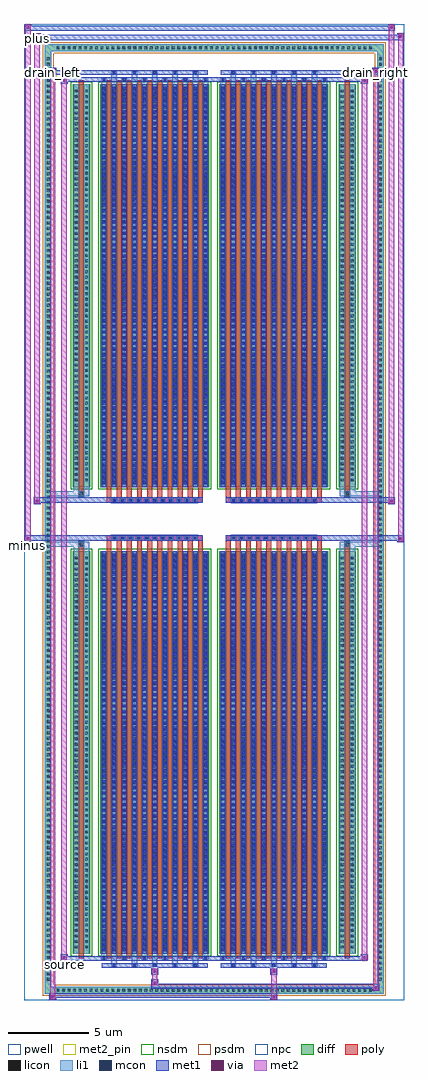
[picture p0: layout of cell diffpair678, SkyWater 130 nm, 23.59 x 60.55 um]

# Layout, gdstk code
import gdstk
lib = gdstk.Library(unit=1e-6, precision=5e-09)
def R(c, l, rs):  # rectangles x0, y0, x1, y1
    for r in rs: c.add(gdstk.rectangle(r[:2], r[2:], *l))
def A(c, l, x, y, w, h, nx, ny, dx, dy):  # array of equal rectangles
    R(c, l, [(x+i*dx, y+j*dy, x+i*dx+w, y+j*dy+h) for i in range(nx) for j in range(ny)])
def P(c, l, *ps):  # polygons
    for p in ps: c.add(gdstk.Polygon(p, *l))
pwell = (64, 44)
diff = (65, 20)
poly = (66, 20)
licon = (66, 44)
li1 = (67, 20)
mcon = (67, 44)
met1 = (68, 20)
via = (68, 44)
met2_pin = (69, 16)
met2 = (69, 20)
nsdm = (93, 44)
psdm = (94, 20)
npc = (95, 20)

diffpair678 = lib.new_cell('diffpair678')
R(diffpair678, pwell, [(-11.78,-29.84,11.78,30.71), (-9.1,-28.03,-0.01,-0.805), (0.01,-28.03,9.1,-0.805), (-9.1,0.805,-0.01,28.03), (0.01,0.805,9.1,28.03)])
A(diffpair678, diff, -9.895, -29.44, 0.41, 0.41, 58, 2, 0.34, 58.47)
A(diffpair678, diff, -10.51, -28.765, 0.41, 0.41, 1, 169, 0, 0.34)
A(diffpair678, diff, 10.1, -28.765, 0.41, 0.41, 1, 169, 0, 0.34)
R(diffpair678, diff, [(-9.895,-29.44,9.895,-29.03), (-10.51,-28.765,-10.1,28.765), (10.1,-28.765,10.51,28.765), (-8.79,-26.985,-7.71,-1.985), (-7.07,-26.985,-0.32,-1.985), (0.32,-26.985,7.07,-1.985), (7.71,-26.985,8.79,-1.985), (-8.79,1.985,-7.71,26.985), (-7.07,1.985,-0.32,26.985), (0.32,1.985,7.07,26.985), (7.71,1.985,8.79,26.985), (-9.895,29.03,9.895,29.44)])
P(diffpair678, diff, [(10.51,29.44),(-10.51,29.44),(-10.51,-29.03),(-10.1,-29.03),(-10.1,29.03),(10.1,29.03),(10.1,-29.03),(-10.1,-29.03),(-10.51,-29.03),(-10.51,-29.44),(10.51,-29.44)])
A(diffpair678, poly, -6.68, -27.235, 0.3, 25.5, 10, 2, 0.63, 28.97)
A(diffpair678, poly, 0.71, -27.235, 0.3, 25.5, 10, 2, 0.63, 28.97)
A(diffpair678, poly, -6.68, -1.735, 0.3, 0.4, 10, 2, 0.63, 3.07)
A(diffpair678, poly, 0.71, -1.735, 0.3, 0.4, 10, 2, 0.63, 3.07)
A(diffpair678, poly, -6.36, -1.335, 0.33, 0.33, 11, 2, 0.5, 2.34)
A(diffpair678, poly, 1.03, -1.335, 0.33, 0.33, 11, 2, 0.5, 2.34)
R(diffpair678, poly, [(-8.4,-27.235,-8.1,-1.735), (8.1,-27.235,8.4,-1.735), (-8.415,-1.735,-8.085,-1.405), (-8.415,-1.735,-8.085,-1.405), (8.085,-1.735,8.415,-1.405), (8.085,-1.735,8.415,-1.405), (-6.68,-1.335,-0.71,-1.005), (0.71,-1.335,6.68,-1.005), (-6.68,1.005,-0.71,1.335), (0.71,1.005,6.68,1.335), (-8.415,1.405,-8.085,1.735), (-8.415,1.405,-8.085,1.735), (8.085,1.405,8.415,1.735), (8.085,1.405,8.415,1.735), (-8.4,1.735,-8.1,27.235), (8.1,1.735,8.4,27.235)])
A(diffpair678, licon, -9.775, -29.32, 0.17, 0.17, 58, 2, 0.34, 58.47)
A(diffpair678, licon, -10.39, -28.645, 0.17, 0.17, 1, 169, 0, 0.34)
A(diffpair678, licon, 10.22, -28.645, 0.17, 0.17, 1, 169, 0, 0.34)
A(diffpair678, licon, -8.65, -26.64, 0.17, 0.17, 1, 72, 0, 0.34)
A(diffpair678, licon, -8.02, -26.64, 0.17, 0.17, 1, 72, 0, 0.34)
A(diffpair678, licon, -6.93, -26.64, 0.17, 0.17, 11, 72, 0.63, 0.34)
A(diffpair678, licon, 0.46, -26.64, 0.17, 0.17, 11, 72, 0.63, 0.34)
A(diffpair678, licon, 7.85, -26.64, 0.17, 0.17, 1, 72, 0, 0.34)
A(diffpair678, licon, 8.48, -26.64, 0.17, 0.17, 1, 72, 0, 0.34)
A(diffpair678, licon, -6.28, -1.255, 0.17, 0.17, 11, 2, 0.5, 2.34)
A(diffpair678, licon, 1.11, -1.255, 0.17, 0.17, 11, 2, 0.5, 2.34)
A(diffpair678, licon, -8.65, 2.33, 0.17, 0.17, 1, 72, 0, 0.34)
A(diffpair678, licon, -8.02, 2.33, 0.17, 0.17, 1, 72, 0, 0.34)
A(diffpair678, licon, -6.93, 2.33, 0.17, 0.17, 11, 72, 0.63, 0.34)
A(diffpair678, licon, 0.46, 2.33, 0.17, 0.17, 11, 72, 0.63, 0.34)
A(diffpair678, licon, 7.85, 2.33, 0.17, 0.17, 1, 72, 0, 0.34)
A(diffpair678, licon, 8.48, 2.33, 0.17, 0.17, 1, 72, 0, 0.34)
R(diffpair678, licon, [(-8.335,-1.655,-8.165,-1.485), (8.165,-1.655,8.335,-1.485), (-8.335,1.485,-8.165,1.655), (8.165,1.485,8.335,1.655)])
A(diffpair678, li1, -9.855, -29.4, 0.33, 0.33, 58, 2, 0.34, 58.47)
A(diffpair678, li1, -10.47, -28.725, 0.33, 0.33, 1, 169, 0, 0.34)
A(diffpair678, li1, 10.14, -28.725, 0.33, 0.33, 1, 169, 0, 0.34)
A(diffpair678, li1, -6.38, -27.79, 0.33, 0.805, 5, 2, 1.26, 54.775)
A(diffpair678, li1, -6.3, -27.79, 0.17, 0.17, 5, 2, 1.26, 55.41)
A(diffpair678, li1, 1.01, -27.79, 0.33, 0.805, 5, 2, 1.26, 54.775)
A(diffpair678, li1, 1.09, -27.79, 0.17, 0.17, 5, 2, 1.26, 55.41)
A(diffpair678, li1, -7.01, -27.36, 0.33, 0.375, 6, 2, 1.26, 54.345)
A(diffpair678, li1, -6.93, -27.36, 0.17, 0.17, 6, 2, 1.26, 54.55)
A(diffpair678, li1, 0.38, -27.36, 0.33, 0.375, 6, 2, 1.26, 54.345)
A(diffpair678, li1, 0.46, -27.36, 0.17, 0.17, 6, 2, 1.26, 54.55)
A(diffpair678, li1, -7.01, -26.985, 0.33, 25, 11, 2, 0.63, 28.97)
A(diffpair678, li1, 0.38, -26.985, 0.33, 25, 11, 2, 0.63, 28.97)
A(diffpair678, li1, -6.93, -26.81, 0.17, 0.17, 11, 69, 0.63, 0.36)
A(diffpair678, li1, -6.93, -26.81, 0.17, 24.65, 11, 2, 0.63, 28.97)
A(diffpair678, li1, 0.46, -26.81, 0.17, 0.17, 11, 69, 0.63, 0.36)
A(diffpair678, li1, 0.46, -26.81, 0.17, 24.65, 11, 2, 0.63, 28.97)
A(diffpair678, li1, -8.73, -26.72, 0.33, 0.33, 1, 72, 0, 0.34)
A(diffpair678, li1, -8.1, -26.72, 0.33, 0.33, 1, 72, 0, 0.34)
A(diffpair678, li1, -7.01, -26.72, 0.33, 0.33, 11, 72, 0.63, 0.34)
A(diffpair678, li1, 0.38, -26.72, 0.33, 0.33, 11, 72, 0.63, 0.34)
A(diffpair678, li1, 7.77, -26.72, 0.33, 0.33, 1, 72, 0, 0.34)
A(diffpair678, li1, 8.4, -26.72, 0.33, 0.33, 1, 72, 0, 0.34)
A(diffpair678, li1, -6.36, -1.335, 0.33, 0.33, 11, 2, 0.5, 2.34)
A(diffpair678, li1, 1.03, -1.335, 0.33, 0.33, 11, 2, 0.5, 2.34)
A(diffpair678, li1, -6.93, 2.16, 0.17, 0.17, 11, 69, 0.63, 0.36)
A(diffpair678, li1, 0.46, 2.16, 0.17, 0.17, 11, 69, 0.63, 0.36)
A(diffpair678, li1, -8.73, 2.25, 0.33, 0.33, 1, 72, 0, 0.34)
A(diffpair678, li1, -8.1, 2.25, 0.33, 0.33, 1, 72, 0, 0.34)
A(diffpair678, li1, -7.01, 2.25, 0.33, 0.33, 11, 72, 0.63, 0.34)
A(diffpair678, li1, 0.38, 2.25, 0.33, 0.33, 11, 72, 0.63, 0.34)
A(diffpair678, li1, 7.77, 2.25, 0.33, 0.33, 1, 72, 0, 0.34)
A(diffpair678, li1, 8.4, 2.25, 0.33, 0.33, 1, 72, 0, 0.34)
R(diffpair678, li1, [(-10.51,-29.44,-10.1,-29.03), (-10.51,-29.44,-10.1,-29.03), (-10.1,-29.44,10.1,-29.03), (10.1,-29.44,10.51,-29.03), (10.1,-29.44,10.51,-29.03), (-10.51,-29.03,-10.1,29.03), (10.1,-29.03,10.51,29.03), (-8.73,-26.985,-8.4,-1.985), (-8.1,-26.985,-7.77,-1.985), (7.77,-26.985,8.1,-1.985), (8.4,-26.985,8.73,-1.985), (-8.73,-1.985,-8.4,-1.405), (-8.1,-1.985,-7.77,-1.405), (7.77,-1.985,8.1,-1.405), (8.4,-1.985,8.73,-1.405), (-10.51,-1.735,-8.415,-1.405), (-8.73,-1.735,-8.415,-1.405), (-8.415,-1.735,-8.085,-1.405), (-8.085,-1.735,-7.77,-1.405), (7.77,-1.735,8.085,-1.405), (8.085,-1.735,8.415,-1.405), (8.085,-1.735,10.51,-1.405), (8.415,-1.735,8.73,-1.405), (-10.51,1.405,-8.415,1.735), (-8.73,1.405,-8.415,1.735), (-8.73,1.405,-8.4,1.985), (-8.415,1.405,-8.085,1.735), (-8.1,1.405,-7.77,1.985), (-8.085,1.405,-7.77,1.735), (7.77,1.405,8.085,1.735), (7.77,1.405,8.1,1.985), (8.085,1.405,8.415,1.735), (8.085,1.405,10.51,1.735), (8.4,1.405,8.73,1.985), (8.415,1.405,8.73,1.735), (-8.73,1.985,-8.4,26.985), (-8.1,1.985,-7.77,26.985), (7.77,1.985,8.1,26.985), (8.4,1.985,8.73,26.985), (-10.51,29.03,-10.1,29.44), (-10.51,29.03,-10.1,29.44), (-10.1,29.03,10.1,29.44), (10.1,29.03,10.51,29.44), (10.1,29.03,10.51,29.44)])
A(diffpair678, mcon, -6.3, -27.79, 0.17, 0.17, 5, 2, 1.26, 55.41)
A(diffpair678, mcon, 1.09, -27.79, 0.17, 0.17, 5, 2, 1.26, 55.41)
A(diffpair678, mcon, -6.93, -27.36, 0.17, 0.17, 6, 2, 1.26, 54.55)
A(diffpair678, mcon, 0.46, -27.36, 0.17, 0.17, 6, 2, 1.26, 54.55)
A(diffpair678, mcon, -6.93, -26.81, 0.17, 0.17, 11, 69, 0.63, 0.36)
A(diffpair678, mcon, 0.46, -26.81, 0.17, 0.17, 11, 69, 0.63, 0.36)
A(diffpair678, mcon, -6.28, -1.255, 0.17, 0.17, 11, 2, 0.5, 2.34)
A(diffpair678, mcon, 1.11, -1.255, 0.17, 0.17, 11, 2, 0.5, 2.34)
A(diffpair678, mcon, -6.93, 2.16, 0.17, 0.17, 11, 69, 0.63, 0.36)
A(diffpair678, mcon, 0.46, 2.16, 0.17, 0.17, 11, 69, 0.63, 0.36)
A(diffpair678, met1, -6.36, -27.85, 0.29, 0.29, 5, 2, 1.26, 55.41)
A(diffpair678, met1, 1.03, -27.85, 0.29, 0.29, 5, 2, 1.26, 55.41)
A(diffpair678, met1, -6.99, -27.42, 0.29, 0.29, 6, 2, 1.26, 54.55)
A(diffpair678, met1, 0.4, -27.42, 0.29, 0.29, 6, 2, 1.26, 54.55)
A(diffpair678, met1, -6.99, -26.985, 0.29, 25, 11, 2, 0.63, 28.97)
A(diffpair678, met1, 0.4, -26.985, 0.29, 25, 11, 2, 0.63, 28.97)
A(diffpair678, met1, -6.99, -26.87, 0.29, 0.29, 11, 69, 0.63, 0.36)
A(diffpair678, met1, 0.4, -26.87, 0.29, 0.29, 11, 69, 0.63, 0.36)
A(diffpair678, met1, -6.34, -1.315, 0.29, 0.29, 11, 2, 0.5, 2.34)
A(diffpair678, met1, 1.05, -1.315, 0.29, 0.29, 11, 2, 0.5, 2.34)
A(diffpair678, met1, -6.99, 2.1, 0.29, 0.29, 11, 69, 0.63, 0.36)
A(diffpair678, met1, 0.4, 2.1, 0.29, 0.29, 11, 69, 0.63, 0.36)
R(diffpair678, met1, [(-10.24,-29.84,-9.81,-29.41), (3.48,-29.84,3.91,-29.41), (-10.24,-29.7,3.91,-29.41), (9.81,-29.27,10.24,-28.84), (-3.91,-29.13,10.24,-28.84), (-3.91,-28.99,-3.48,-28.56), (-3.91,-28.28,-3.48,-27.85), (3.48,-28.28,3.91,-27.85), (-6.99,-27.85,-0.4,-27.56), (0.4,-27.85,6.99,-27.56), (-9.53,-27.42,-9.1,-26.99), (-9.53,-27.42,-6.99,-27.13), (-6.99,-27.42,-0.4,-27.13), (-0.4,-27.42,0.4,-27.13), (0.4,-27.42,6.99,-27.13), (6.99,-27.42,9.53,-27.13), (9.1,-27.42,9.53,-26.99), (-11.78,-1.435,-11.35,-1.005), (11.35,-1.435,11.78,-1.005), (-11.78,-1.335,-0.71,-1.005), (-6.68,-1.335,-0.71,-1.005), (0.71,-1.335,6.68,-1.005), (0.71,-1.335,11.78,-1.005), (-11.21,0.905,-10.78,1.335), (10.78,0.905,11.21,1.335), (-11.21,1.005,-6.68,1.335), (-6.68,1.005,-0.71,1.335), (0.71,1.005,6.68,1.335), (6.68,1.005,11.21,1.335), (-9.53,26.99,-9.1,27.42), (9.1,26.99,9.53,27.42), (-9.53,27.13,-6.99,27.42), (-6.99,27.13,-0.4,27.42), (-0.4,27.13,0.4,27.42), (0.4,27.13,6.99,27.42), (6.99,27.13,9.53,27.42), (-10.24,27.56,-9.81,27.99), (-10.24,27.56,-6.99,27.85), (-6.99,27.56,-0.4,27.85), (0.4,27.56,6.99,27.85), (6.99,27.56,10.24,27.85), (9.81,27.56,10.24,27.99), (-11.21,29.71,-10.78,30.14), (-11.21,29.71,-9.1,30.04), (-9.1,29.71,9.1,30.04), (9.1,29.71,11.78,30.04), (11.35,29.71,11.78,30.14), (-11.78,30.28,-11.35,30.71), (-11.78,30.28,-9.1,30.61), (-9.1,30.28,9.1,30.61), (9.1,30.28,11.21,30.61), (10.78,30.28,11.21,30.71)])
R(diffpair678, via, [(-10.1,-29.7,-9.95,-29.55), (3.62,-29.7,3.77,-29.55), (9.95,-29.13,10.1,-28.98), (-3.77,-28.85,-3.62,-28.7), (-3.77,-28.14,-3.62,-27.99), (3.62,-28.14,3.77,-27.99), (-9.39,-27.28,-9.24,-27.13), (9.24,-27.28,9.39,-27.13), (-11.64,-1.295,-11.49,-1.145), (11.49,-1.295,11.64,-1.145), (-11.07,1.045,-10.92,1.195), (10.92,1.045,11.07,1.195), (-9.39,27.13,-9.24,27.28), (9.24,27.13,9.39,27.28), (-10.1,27.7,-9.95,27.85), (9.95,27.7,10.1,27.85), (-11.07,29.85,-10.92,30), (11.49,29.85,11.64,30), (-11.64,30.42,-11.49,30.57), (10.92,30.42,11.07,30.57)])
R(diffpair678, met2_pin, [(-9.565,-27.87,-9.065,-27.37), (-11.815,-1.885,-11.315,-1.385), (-10.275,27.44,-9.775,27.94), (9.775,27.44,10.275,27.94), (-11.245,29.59,-10.745,30.09)])
R(diffpair678, met2, [(-10.19,-29.79,-9.86,-29.46), (-10.19,-29.79,-9.86,27.94), (3.53,-29.79,3.86,-29.46), (3.53,-29.46,3.86,-28.23), (9.86,-29.22,10.19,-28.89), (9.86,-29.22,10.19,27.94), (-3.86,-28.94,-3.53,-28.61), (-3.86,-28.61,-3.53,-28.23), (-3.86,-28.23,-3.53,-27.9), (3.53,-28.23,3.86,-27.9), (-9.48,-27.37,-9.15,-27.04), (-9.48,-27.37,-9.15,27.37), (9.15,-27.37,9.48,-27.04), (9.15,-27.37,9.48,27.37), (-11.73,-1.385,-11.4,-1.055), (-11.73,-1.385,-11.4,30.66), (11.4,-1.385,11.73,-1.055), (11.4,-1.385,11.73,30.09), (-11.16,0.955,-10.83,1.285), (-11.16,0.955,-10.83,30.09), (10.83,0.955,11.16,1.285), (10.83,0.955,11.16,30.66), (-9.48,27.04,-9.15,27.37), (9.15,27.04,9.48,27.37), (-10.19,27.61,-9.86,27.94), (9.86,27.61,10.19,27.94), (-11.16,29.76,-10.83,30.09), (11.4,29.76,11.73,30.09), (-11.73,30.33,-11.4,30.66), (10.83,30.33,11.16,30.66)])
P(diffpair678, met2, [(11.73,-1.385),(11.73,-1.385),(11.73,-1.055),(11.73,-1.055)],
  [(11.73,29.76),(11.73,29.76),(11.73,30.09),(11.73,30.09)],
  [(-11.4,-1.385),(-11.4,-1.385),(-11.4,-1.055),(-11.4,-1.055)],
  [(-11.4,30.33),(-11.4,30.33),(-11.4,30.66),(-11.4,30.66)],
  [(11.16,0.955),(11.16,0.955),(11.16,1.285),(11.16,1.285)],
  [(11.16,30.33),(11.16,30.33),(11.16,30.66),(11.16,30.66)],
  [(-10.83,0.955),(-10.83,0.955),(-10.83,1.285),(-10.83,1.285)],
  [(-10.83,29.76),(-10.83,29.76),(-10.83,30.09),(-10.83,30.09)],
  [(-9.86,-29.79),(-9.86,-29.79),(-9.86,-29.46),(-9.86,-29.46)],
  [(-9.86,27.61),(-9.86,27.61),(-9.86,27.94),(-9.86,27.94)],
  [(10.19,-29.22),(10.19,-29.22),(10.19,-28.89),(10.19,-28.89)],
  [(10.19,27.61),(10.19,27.61),(10.19,27.94),(10.19,27.94)],
  [(-9.15,-27.37),(-9.15,-27.37),(-9.15,-27.04),(-9.15,-27.04)],
  [(-9.15,27.04),(-9.15,27.04),(-9.15,27.37),(-9.15,27.37)],
  [(9.48,-27.37),(9.48,-27.37),(9.48,-27.04),(9.48,-27.04)],
  [(9.48,27.04),(9.48,27.04),(9.48,27.37),(9.48,27.37)])
R(diffpair678, nsdm, [(-8.92,-27.115,-7.58,-1.855), (-7.2,-27.115,-0.19,-1.855), (0.19,-27.115,7.2,-1.855), (7.58,-27.115,8.92,-1.855), (-8.92,1.855,-7.58,27.115), (-7.2,1.855,-0.19,27.115), (0.19,1.855,7.2,27.115), (7.58,1.855,8.92,27.115)])
P(diffpair678, psdm, [(10.64,29.57),(-10.64,29.57),(-10.64,-28.9),(-9.97,-28.9),(-9.97,28.9),(9.97,28.9),(9.97,-28.9),(-9.97,-28.9),(-10.64,-28.9),(-10.64,-29.57),(10.64,-29.57)])
A(diffpair678, npc, -6.38, -1.355, 0.37, 0.37, 11, 2, 0.5, 2.34)
A(diffpair678, npc, 1.01, -1.355, 0.37, 0.37, 11, 2, 0.5, 2.34)
R(diffpair678, npc, [(-8.435,-1.755,-8.065,-1.385), (8.065,-1.755,8.435,-1.385), (-6.38,-1.355,-5.51,-0.985), (-6.38,-1.355,-5.51,-0.985), (-5.88,-1.355,-5.01,-0.985), (-5.88,-1.355,-5.01,-0.985), (-5.38,-1.355,-4.51,-0.985), (-5.38,-1.355,-4.51,-0.985), (-4.88,-1.355,-4.01,-0.985), (-4.88,-1.355,-4.01,-0.985), (-4.38,-1.355,-3.51,-0.985), (-4.38,-1.355,-3.51,-0.985), (-3.88,-1.355,-3.01,-0.985), (-3.88,-1.355,-3.01,-0.985), (-3.38,-1.355,-2.51,-0.985), (-3.38,-1.355,-2.51,-0.985), (-2.88,-1.355,-2.01,-0.985), (-2.88,-1.355,-2.01,-0.985), (-2.38,-1.355,-1.51,-0.985), (-2.38,-1.355,-1.51,-0.985), (-1.88,-1.355,-1.01,-0.985), (-1.88,-1.355,-1.01,-0.985), (1.01,-1.355,1.88,-0.985), (1.01,-1.355,1.88,-0.985), (1.51,-1.355,2.38,-0.985), (1.51,-1.355,2.38,-0.985), (2.01,-1.355,2.88,-0.985), (2.01,-1.355,2.88,-0.985), (2.51,-1.355,3.38,-0.985), (2.51,-1.355,3.38,-0.985), (3.01,-1.355,3.88,-0.985), (3.01,-1.355,3.88,-0.985), (3.51,-1.355,4.38,-0.985), (3.51,-1.355,4.38,-0.985), (4.01,-1.355,4.88,-0.985), (4.01,-1.355,4.88,-0.985), (4.51,-1.355,5.38,-0.985), (4.51,-1.355,5.38,-0.985), (5.01,-1.355,5.88,-0.985), (5.01,-1.355,5.88,-0.985), (5.51,-1.355,6.38,-0.985), (5.51,-1.355,6.38,-0.985), (-6.38,0.985,-5.51,1.355), (-6.38,0.985,-5.51,1.355), (-5.88,0.985,-5.01,1.355), (-5.88,0.985,-5.01,1.355), (-5.38,0.985,-4.51,1.355), (-5.38,0.985,-4.51,1.355), (-4.88,0.985,-4.01,1.355), (-4.88,0.985,-4.01,1.355), (-4.38,0.985,-3.51,1.355), (-4.38,0.985,-3.51,1.355), (-3.88,0.985,-3.01,1.355), (-3.88,0.985,-3.01,1.355), (-3.38,0.985,-2.51,1.355), (-3.38,0.985,-2.51,1.355), (-2.88,0.985,-2.01,1.355), (-2.88,0.985,-2.01,1.355), (-2.38,0.985,-1.51,1.355), (-2.38,0.985,-1.51,1.355), (-1.88,0.985,-1.01,1.355), (-1.88,0.985,-1.01,1.355), (1.01,0.985,1.88,1.355), (1.01,0.985,1.88,1.355), (1.51,0.985,2.38,1.355), (1.51,0.985,2.38,1.355), (2.01,0.985,2.88,1.355), (2.01,0.985,2.88,1.355), (2.51,0.985,3.38,1.355), (2.51,0.985,3.38,1.355), (3.01,0.985,3.88,1.355), (3.01,0.985,3.88,1.355), (3.51,0.985,4.38,1.355), (3.51,0.985,4.38,1.355), (4.01,0.985,4.88,1.355), (4.01,0.985,4.88,1.355), (4.51,0.985,5.38,1.355), (4.51,0.985,5.38,1.355), (5.01,0.985,5.88,1.355), (5.01,0.985,5.88,1.355), (5.51,0.985,6.38,1.355), (5.51,0.985,6.38,1.355), (-8.435,1.385,-8.065,1.755), (8.065,1.385,8.435,1.755)])
diffpair678.add(gdstk.Label('minus', (-11.565,-1.635), layer=69, texttype=5))
diffpair678.add(gdstk.Label('drain_right', (10.025,27.69), layer=69, texttype=5))
diffpair678.add(gdstk.Label('drain_left', (-10.025,27.69), layer=69, texttype=5))
diffpair678.add(gdstk.Label('source', (-9.315,-27.62), layer=69, texttype=5))
diffpair678.add(gdstk.Label('plus', (-10.995,29.84), layer=69, texttype=5))

lib.write_gds('diffpair678.gds')
